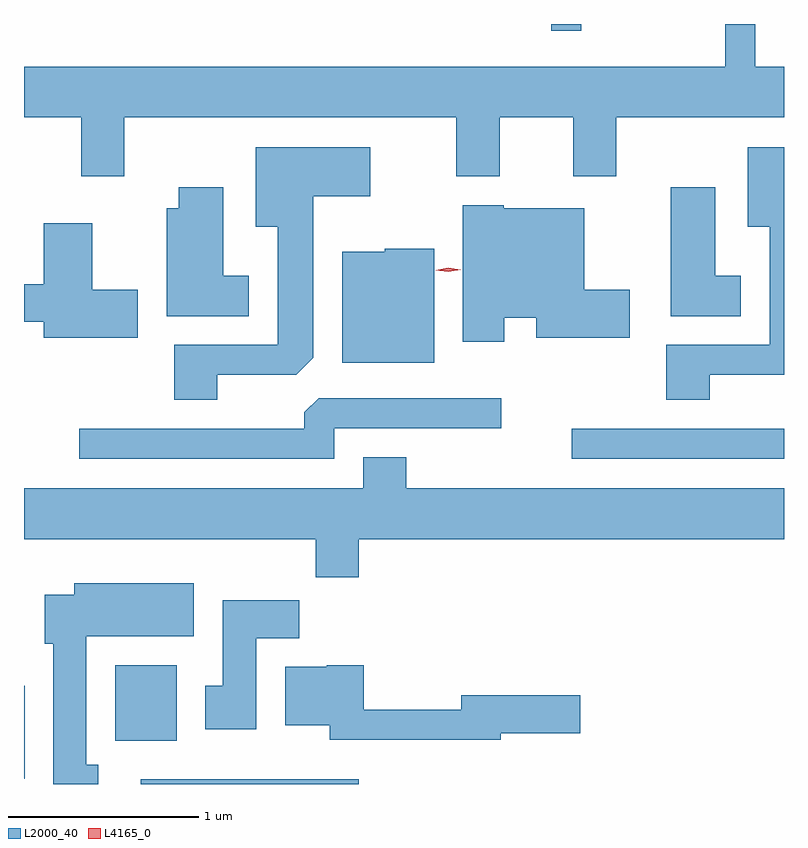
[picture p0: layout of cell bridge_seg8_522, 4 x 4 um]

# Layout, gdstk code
import gdstk
lib = gdstk.Library(unit=1e-6, precision=1e-09)
def R(c, l, rs):  # rectangles x0, y0, x1, y1
    for r in rs: c.add(gdstk.rectangle(r[:2], r[2:], *l))
def P(c, l, *ps):  # polygons
    for p in ps: c.add(gdstk.Polygon(p, *l))
L2000_40 = (2000, 40)
L4165_0 = (4165, 0)

bridge_seg8_522 = lib.new_cell('bridge_seg8_522')
R(bridge_seg8_522, L2000_40, [(289.431,1848.448,290.579,1848.474), (288.816,1848.476,288.819,1848.964), (289.296,1848.676,289.619,1849.074), (291.698,1850.161,292.816,1850.319), (291.591,1852.413,291.749,1852.448)])
P(bridge_seg8_522, L2000_40, [(289.344,1851.956),(291.091,1851.956),(291.091,1851.646),(291.319,1851.646),(291.319,1851.956),(291.706,1851.956),(291.706,1851.646),(291.934,1851.646),(291.934,1851.956),(292.816,1851.956),(292.816,1852.224),(292.664,1852.224),(292.664,1852.448),(292.506,1852.448),(292.506,1852.224),(288.816,1852.224),(288.816,1851.956),(289.116,1851.956),(289.116,1851.646),(289.344,1851.646)],
  [(292.424,1850.601),(292.816,1850.601),(292.816,1851.799),(292.626,1851.799),(292.626,1851.381),(292.741,1851.381),(292.741,1850.759),(292.196,1850.759),(292.196,1850.471),(292.424,1850.471)],
  [(289.834,1850.601),(290.249,1850.601),(290.339,1850.692),(290.339,1851.541),(290.639,1851.541),(290.639,1851.799),(290.036,1851.799),(290.036,1851.381),(290.151,1851.381),(290.151,1850.759),(289.606,1850.759),(289.606,1850.471),(289.834,1850.471)],
  [(289.999,1851.124),(289.864,1851.124),(289.864,1851.589),(289.631,1851.589),(289.631,1851.479),(289.566,1851.479),(289.566,1850.911),(289.999,1850.911)],
  [(292.589,1851.124),(292.454,1851.124),(292.454,1851.589),(292.221,1851.589),(292.221,1850.911),(292.589,1850.911)],
  [(291.344,1850.901),(291.511,1850.901),(291.511,1850.796),(292.004,1850.796),(292.004,1851.049),(291.764,1851.049),(291.764,1851.479),(291.34,1851.479),(291.34,1851.494),(291.126,1851.494),(291.126,1850.776),(291.344,1850.776)],
  [(289.414,1851.049),(289.174,1851.049),(289.174,1851.399),(288.921,1851.399),(288.921,1851.079),(288.816,1851.079),(288.816,1850.881),(288.921,1850.881),(288.921,1850.796),(289.414,1850.796)],
  [(290.974,1851.264),(290.715,1851.264),(290.715,1851.249),(290.491,1851.249),(290.491,1850.666),(290.974,1850.666)],
  [(290.449,1850.321),(291.328,1850.321),(291.328,1850.479),(290.367,1850.479),(290.291,1850.404),(290.291,1850.319),(289.108,1850.319),(289.108,1850.161),(290.449,1850.161)],
  [(290.579,1849.736),(292.816,1849.736),(292.816,1850.004),(290.829,1850.004),(290.829,1850.169),(290.601,1850.169),(290.601,1850.004),(288.816,1850.004),(288.816,1849.736),(290.351,1849.736),(290.351,1849.536),(290.579,1849.536)],
  [(289.208,1848.549),(289.144,1848.549),(289.144,1849.226),(289.709,1849.226),(289.709,1849.504),(289.081,1849.504),(289.081,1849.444),(288.926,1849.444),(288.926,1849.186),(288.971,1849.186),(288.971,1848.448),(289.208,1848.448)],
  [(290.039,1849.216),(290.264,1849.216),(290.264,1849.414),(289.861,1849.414),(289.861,1848.964),(289.771,1848.964),(289.771,1848.736),(290.039,1848.736)],
  [(291.324,1848.716),(291.744,1848.716),(291.744,1848.914),(291.116,1848.914),(291.116,1848.839),(290.604,1848.839),(290.604,1849.074),(290.41,1849.074),(290.41,1849.064),(290.191,1849.064),(290.191,1848.756),(290.426,1848.756),(290.426,1848.681),(291.324,1848.681)])
P(bridge_seg8_522, L4165_0, [(291.048,1851.144),(290.982,1851.152),(290.982,1851.152),(290.982,1851.153),(291.048,1851.164),(291.114,1851.155),(291.115,1851.155),(291.114,1851.154)])

lib.write_gds('bridge_seg8_522.gds')
